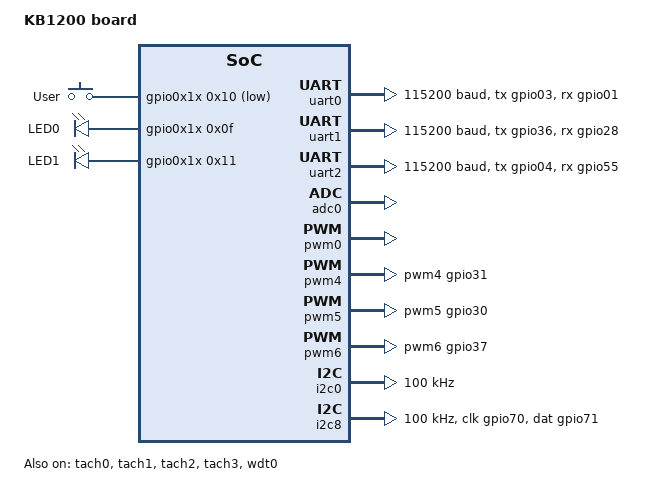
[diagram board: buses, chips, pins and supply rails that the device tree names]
/*
 * Copyright (c) 2023 ENE Technology Inc.
 *
 * SPDX-License-Identifier: Apache-2.0
 */

/dts-v1/;

#include <zephyr/dt-bindings/input/input-event-codes.h>
#include <ene/kb1200.dtsi>
#include <ene/kb1200-pinctrl.dtsi>
#include <dt-bindings/i2c/i2c.h>

/ {
	model = "KB1200 board";
	compatible = "ene,kb1200";

	aliases {
		uart0 = &uart0;
		led0 = &led0;
		led1 = &led1;
		sw0 = &user_button;
	};

	chosen {
		zephyr,console = &uart0;
		zephyr,shell-uart = &uart0;
	};

	gpio_keys {
		compatible = "gpio-keys";
		user_button: button {
			label = "User";
			gpios = <&gpio0x1x 0x10 (GPIO_ACTIVE_LOW | GPIO_PULL_UP)>;
			zephyr,code = <INPUT_KEY_0>;
		};
	};

	leds {
		compatible = "gpio-leds";
		/* green led */
		led0: led_0 {
			gpios = <&gpio0x1x 0x0f GPIO_ACTIVE_HIGH>;
			label = "LED0";
		};
		/* blue led */
		led1: led_1 {
			gpios = <&gpio0x1x 0x11 GPIO_ACTIVE_HIGH>;
			label = "LED1";
		};
	};
};

&uart0 {
	pinctrl-0 = <&uart0_tx_gpio03 &uart0_rx_gpio01>;
	pinctrl-names = "default";
	status = "okay";
	current-speed = <115200>;
};

&uart1 {
	pinctrl-0 = <&uart1_tx_gpio36 &uart1_rx_gpio28>;
	pinctrl-names = "default";
	status = "okay";
	current-speed = <115200>;
};

&uart2 {
	pinctrl-0 = <&uart2_tx_gpio04 &uart2_rx_gpio55>;
	pinctrl-names = "default";
	status = "okay";
	current-speed = <115200>;
};

&gpio0x1x {
	status = "okay";
};

&adc0 {
	status = "okay";
	pinctrl-0 = <&adc0_gpio0a &adc1_gpio0b &adc2_gpio0c &adc3_gpio0d>;
	pinctrl-names = "default";
};

&pwm0 {
	status = "okay";
	pinctrl-0 = <&pwm0_gpio3a>;
	pinctrl-names = "default";
};

&pwm4 {
	status = "okay";
	pinctrl-0 = <&pwm4_gpio31>;
	pinctrl-names = "default";
};

&pwm5 {
	status = "okay";
	pinctrl-0 = <&pwm5_gpio30>;
	pinctrl-names = "default";
};

&pwm6 {
	status = "okay";
	pinctrl-0 = <&pwm6_gpio37>;
	pinctrl-names = "default";
};

&tach0 {
	status = "okay";
	pinctrl-0 = <&tach0_gpio48>;
	pinctrl-names = "default";
	pulses-per-round = <2>;
	sample-time-us = <2>;
};

&tach1 {
	status = "okay";
	pinctrl-0 = <&tach1_gpio4e>;
	pinctrl-names = "default";
	pulses-per-round = <1>;
	sample-time-us = <8>;
};

&tach2 {
	status = "okay";
	pinctrl-0 = <&tach2_gpio0e>;
	pinctrl-names = "default";
	pulses-per-round = <2>;
	sample-time-us = <16>;
};

&tach3 {
	status = "okay";
	pinctrl-0 = <&tach3_gpio43>;
	pinctrl-names = "default";
	pulses-per-round = <1>;
	sample-time-us = <64>;
};

&wdt0 {
	status = "okay";
};

&i2c0 {
	status = "okay";
	clock-frequency = <I2C_BITRATE_STANDARD>;
	pinctrl-0 = <&i2c0_clk_gpio2c &i2c0_dat_gpio2d>;
	pinctrl-names = "default";
};

&i2c8 {
	status = "okay";
	clock-frequency = <I2C_BITRATE_STANDARD>;
	pinctrl-0 = <&i2c8_clk_gpio70 &i2c8_dat_gpio71>;
	pinctrl-names = "default";
};
